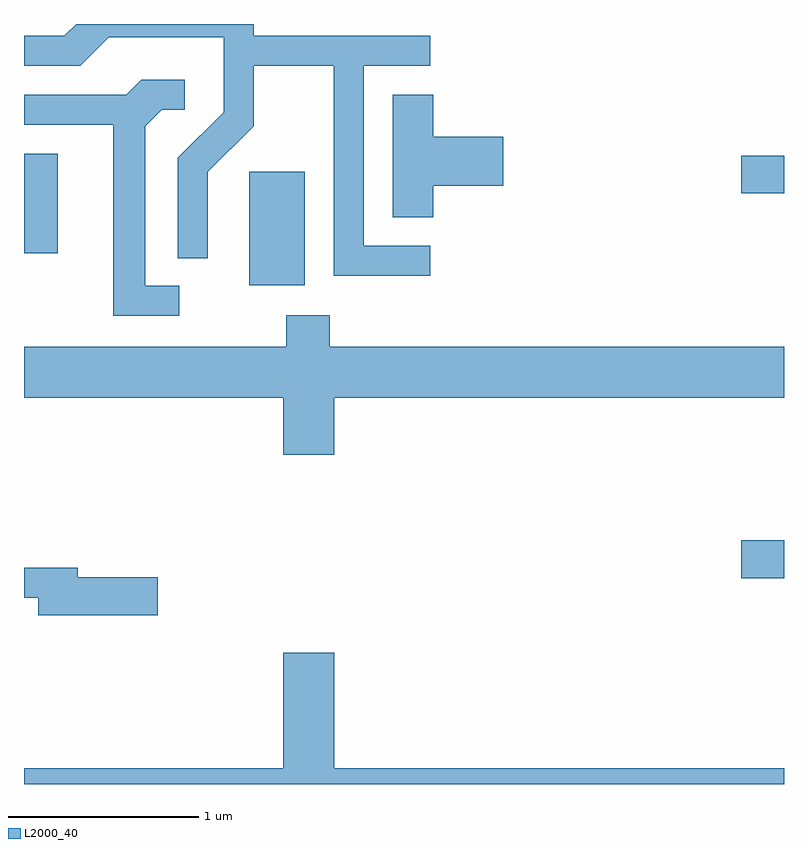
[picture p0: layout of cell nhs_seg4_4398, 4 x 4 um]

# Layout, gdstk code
import gdstk
lib = gdstk.Library(unit=1e-6, precision=1e-09)
def R(c, l, rs):  # rectangles x0, y0, x1, y1
    for r in rs: c.add(gdstk.rectangle(r[:2], r[2:], *l))
def P(c, l, *ps):  # polygons
    for p in ps: c.add(gdstk.Polygon(p, *l))
L2000_40 = (2000, 40)

nhs_seg4_4398 = lib.new_cell('nhs_seg4_4398')
R(nhs_seg4_4398, L2000_40, [(317.386,1347.066,317.611,1347.264), (314.796,1348.606,315.089,1349.204), (313.611,1348.776,313.789,1349.299), (317.386,1349.091,317.611,1349.289)])
P(nhs_seg4_4398, L2000_40, [(315.748,1348.814),(315.399,1348.814),(315.399,1349.761),(315.748,1349.761),(315.748,1349.919),(314.819,1349.919),(314.819,1349.982),(313.887,1349.982),(313.824,1349.919),(313.611,1349.919),(313.611,1349.761),(313.907,1349.761),(314.057,1349.911),(314.661,1349.911),(314.661,1349.517),(314.421,1349.277),(314.421,1348.748),(314.579,1348.748),(314.579,1349.204),(314.819,1349.444),(314.819,1349.761),(315.241,1349.761),(315.241,1348.656),(315.748,1348.656)],
  [(314.428,1348.604),(314.249,1348.604),(314.249,1349.444),(314.337,1349.531),(314.458,1349.531),(314.458,1349.689),(314.229,1349.689),(314.149,1349.609),(313.611,1349.609),(313.611,1349.451),(314.081,1349.451),(314.081,1348.446),(314.428,1348.446)],
  [(315.764,1349.131),(316.134,1349.131),(316.134,1349.389),(315.764,1349.389),(315.764,1349.609),(315.551,1349.609),(315.551,1348.966),(315.764,1348.966)],
  [(315.244,1348.016),(317.611,1348.016),(317.611,1348.284),(315.219,1348.284),(315.219,1348.449),(314.991,1348.449),(314.991,1348.284),(313.611,1348.284),(313.611,1348.016),(314.976,1348.016),(314.976,1347.716),(315.244,1347.716)],
  [(314.314,1347.069),(313.894,1347.069),(313.894,1347.119),(313.611,1347.119),(313.611,1346.961),(313.686,1346.961),(313.686,1346.871),(314.314,1346.871)],
  [(317.611,1346.064),(315.244,1346.064),(315.244,1346.674),(314.976,1346.674),(314.976,1346.064),(313.611,1346.064),(313.611,1345.982),(317.611,1345.982)])

lib.write_gds('nhs_seg4_4398.gds')
